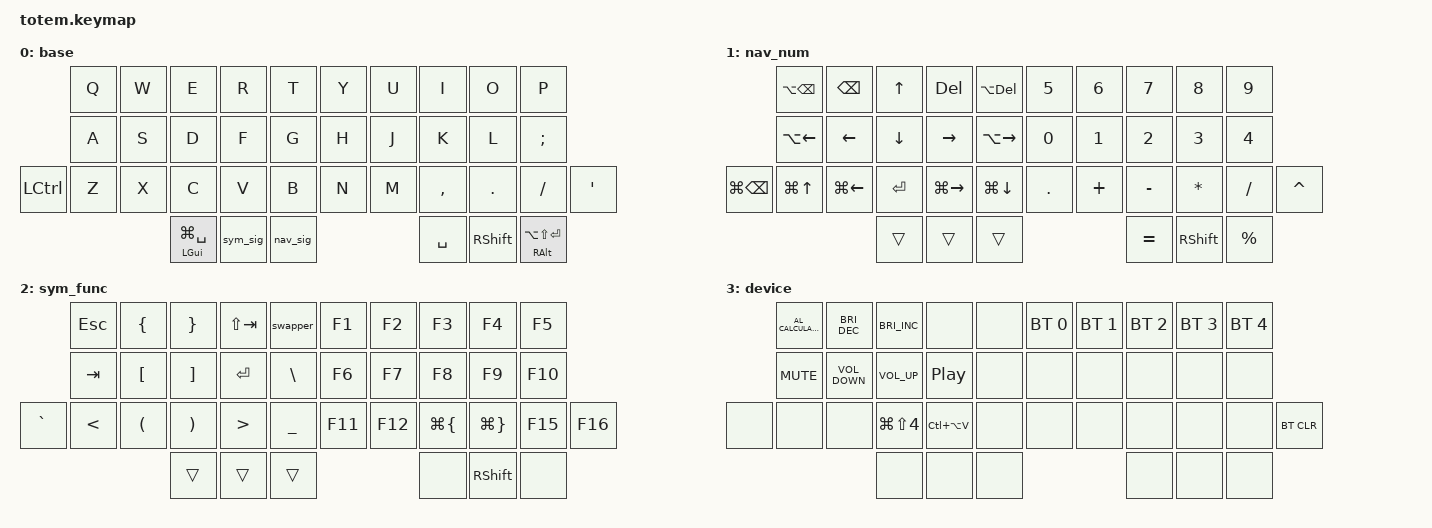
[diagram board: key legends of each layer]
//
//                                                        ▀▀▀▀▀     ▀▀▀▀▀          ▀▀█▀▀
//                                                        ▄▀▀▀▄  ▄  ▄▀▀▀▄  ▄  ▄▀▀▀▄  █  ▄▀▀▀▄
//                                                        █   █  █  █   █  █  █   █  █  █   █
//                                                         ▀▀▀   █   ▀▀▀   █   ▀▀▀   ▀   ▀▀▀
//                                                               █      ▄▄▄█▄▄▄    █   █  
//                                                               ▀      █  █  █     █▄█
//                                                             ▀▀▀▀▀    █  █  █      ▀
//                                                                      ▀  ▀  ▀
//
// ▄▄▄▄▄▄▄▄▄▄▄▄▄▄▄▄▄▄▄▄▄▄▄▄▄▄▄▄▄▄▄▄▄▄▄▄▄▄▄▄▄▄▄▄▄▄▄▄▄▄▄▄▄▄▄▄▄▄▄▄▄▄▄▄▄▄▄▄▄▄▄▄▄▄▄▄▄▄▄▄▄▄▄▄▄▄▄▄▄▄▄▄▄▄▄▄▄▄▄▄▄▄▄▄▄▄▄▄▄▄▄▄▄▄▄▄▄▄▄▄▄▄▄▄▄▄▄▄▄▄▄▄▄▄▄▄▄▄▄▄▄▄▄▄▄▄▄▄▄

#include <behaviors.dtsi>
#include <dt-bindings/zmk/bt.h>
#include <dt-bindings/zmk/keys.h>

/ {
    behaviors {
        // tap: the keycode in the binding's second cell, hold: Option
        alfred_opt: alfred_opt {
            compatible = "zmk,behavior-hold-tap";
            #binding-cells = <2>;
            flavor = "balanced";
            tapping-term-ms = <200>;
            bindings = <&kp>, <&kp>;
            display-name = "Alfred/Option";
        };

        // Left outer thumb. tap: Cmd+Space (input source toggle, macOS
        // shortcut 61), hold: Cmd. Balanced, so a Cmd shortcut stays Cmd only
        // while Cmd is held until the other key is released; letting Cmd go
        // first inside the tapping term sends Cmd+Space and the letter. Not
        // hold-preferred: tapping into the next letter (Korean ㅂ is Q) would
        // fire Cmd+Q. No hold-while-undecided: Karabiner switches to ABC
        // whenever Cmd is released while Korean is on, so an early Cmd press
        // and release would turn the Cmd+Space after it back into Korean.
        cmd_lang: cmd_lang {
            compatible = "zmk,behavior-hold-tap";
            #binding-cells = <2>;
            flavor = "balanced";
            tapping-term-ms = <200>;
            bindings = <&kp>, <&kp>;
            display-name = "Cmd/Lang";
        };

        // SYM+T: Cmd+Tab app switcher (zmk-tri-state module). The first press holds
        // Cmd and taps Tab (forward, right), later presses tap Tab. SYM+R is Shift+Tab:
        // inside a switch it steps back (Cmd is already held) without ending it.
        // Releasing SYM, or any other key, releases Cmd.
        swapper: swapper {
            compatible = "zmk,behavior-tri-state";
            #binding-cells = <0>;
            bindings = <&kt LGUI>, <&kp TAB>, <&kt LGUI>;
            ignored-key-positions = <3>;
        };
    };

    macros {
        // NAV that also holds F19 while the layer is on, so the host can
        // see the layer change (totem-typing keymap overlay).
        nav_sig: nav_sig {
            compatible = "zmk,behavior-macro";
            #binding-cells = <0>;
            wait-ms = <0>;
            tap-ms = <0>;
            bindings
                = <&macro_press &mo 1 &kp F19>
                , <&macro_pause_for_release>
                , <&macro_release &mo 1 &kp F19>;
            display-name = "NAV+F19";
        };

        // SYM that also holds F20 while the layer is on.
        sym_sig: sym_sig {
            compatible = "zmk,behavior-macro";
            #binding-cells = <0>;
            wait-ms = <0>;
            tap-ms = <0>;
            bindings
                = <&macro_press &mo 2 &kp F20>
                , <&macro_pause_for_release>
                , <&macro_release &mo 2 &kp F20>;
            display-name = "SYM+F20";
        };
    };

    combos {
        compatible = "zmk,combos";

        // S+D pressed together -> Tab (base layer only). Esc stays on SYM+Q.
        // require-prior-idle-ms keeps in-word rolls (Korean ㄴ+ㅇ as in 안에,
        // ㅇ+ㄴ as in 강남) typing letters; a combo needs a short pause after
        // the last key.
        combo_tab {
            timeout-ms = <30>;
            require-prior-idle-ms = <150>;
            key-positions = <11 12>;
            bindings = <&kp TAB>;
            layers = <0>;
        };

        // K+L pressed together -> Backspace (base layer only).
        // J+K is avoided: IdeaVim maps the jk sequence to Esc.
        // Prior idle keeps rolls such as "walk" or "talk" from deleting.
        combo_bspc {
            timeout-ms = <30>;
            require-prior-idle-ms = <150>;
            key-positions = <17 18>;
            bindings = <&kp BACKSPACE>;
            layers = <0>;
        };

        // L+; pressed together -> Enter (base layer only). L is shared with
        // the K+L combo. An Enter that does not go through a layer key.
        // Prior idle keeps rolls such as Java "null;" typing letters.
        combo_enter {
            timeout-ms = <30>;
            require-prior-idle-ms = <150>;
            key-positions = <18 19>;
            bindings = <&kp ENTER>;
            layers = <0>;
        };
    };

    keymap {
        compatible = "zmk,keymap";

        base {
            bindings = <
           &kp Q  &kp W  &kp E     &kp R  &kp T    &kp Y      &kp U            &kp I          &kp O    &kp P
           &kp A  &kp S  &kp D     &kp F  &kp G    &kp H      &kp J            &kp K          &kp L    &kp SEMI
&kp LCTRL  &kp Z  &kp X  &kp C     &kp V  &kp B    &kp N      &kp M            &kp COMMA      &kp DOT  &kp FSLH  &kp APOS
                         &cmd_lang LGUI LG(SPACE)  &sym_sig  &nav_sig    &kp SPACE  &kp RIGHT_SHIFT  &alfred_opt RALT LA(LS(RET))
            >;
        };

        nav_num {
            bindings = <
                   &kp LA(BACKSPACE)   &kp BACKSPACE  &kp UP     &kp DELETE     &kp LA(DELETE)        &kp N5      &kp N6           &kp N7       &kp N8    &kp N9
                   &kp LA(LEFT_ARROW)  &kp LEFT       &kp DOWN   &kp RIGHT      &kp LA(RIGHT)         &kp N0      &kp N1           &kp N2       &kp N3    &kp N4
&kp LG(BACKSPACE)  &kp LG(UP_ARROW)    &kp LG(LEFT)   &kp ENTER  &kp LG(RIGHT)  &kp LG(DOWN_ARROW)    &kp PERIOD  &kp PLUS         &kp MINUS    &kp STAR  &kp FSLH  &kp CARET
                                                      &trans     &trans         &trans                &kp EQUAL   &kp RIGHT_SHIFT  &kp PERCENT
            >;
        };

        // , and . = Cmd+{ / Cmd+} (previous / next tab): two keys instead of
        // the Cmd thumb, SYM and W or E.
        sym_func {
            bindings = <
           &kp ESC        &kp LEFT_BRACE        &kp RIGHT_BRACE        &kp LS(TAB)       &swapper          &kp F1   &kp F2           &kp F3              &kp F4               &kp F5
           &kp TAB        &kp LBKT              &kp RBKT               &kp ENTER         &kp BSLH          &kp F6   &kp F7           &kp F8              &kp F9               &kp F10
&kp GRAVE  &kp LESS_THAN  &kp LEFT_PARENTHESIS  &kp RIGHT_PARENTHESIS  &kp GREATER_THAN  &kp UNDERSCORE    &kp F11  &kp F12          &kp LG(LEFT_BRACE)  &kp LG(RIGHT_BRACE)  &kp F15  &kp F16
                                                &trans                 &trans            &trans            &none    &kp RIGHT_SHIFT  &none
            >;
        };

        // Q = AL Calculator: Karabiner runs ~/bin/safe-eject-external on it.
        // C = Cmd+Shift+4 (area screenshot), V = Ctrl+Option+V (custom paste).
        // Flashing needs no key: the host's 1200 baud touch reboots a half into
        // its bootloader (src/host_bootloader.c). Reset twice is the fallback.
        device {
            bindings = <
       &kp C_AL_CALCULATOR  &kp C_BRIGHTNESS_DEC  &kp C_BRIGHTNESS_INC  &none             &none    &bt BT_SEL 0  &bt BT_SEL 1  &bt BT_SEL 2  &bt BT_SEL 3  &bt BT_SEL 4
       &kp K_MUTE  &kp C_VOLUME_DOWN     &kp C_VOLUME_UP       &kp C_PLAY_PAUSE  &none    &none         &none         &none         &none         &none
&none  &none       &none                 &kp LG(LS(N4))        &kp LC(LA(V))     &none    &none         &none         &none         &none         &none         &bt BT_CLR
                                         &none                 &none             &none    &none         &none         &none
            >;
        };

        extra1 { status = "reserved"; };

        extra2 { status = "reserved"; };

        extra3 { status = "reserved"; };
    };

    conditional_layers {
        compatible = "zmk,conditional-layers";

        device {
            if-layers = <1 2>;
            then-layer = <3>;
        };
    };
};
